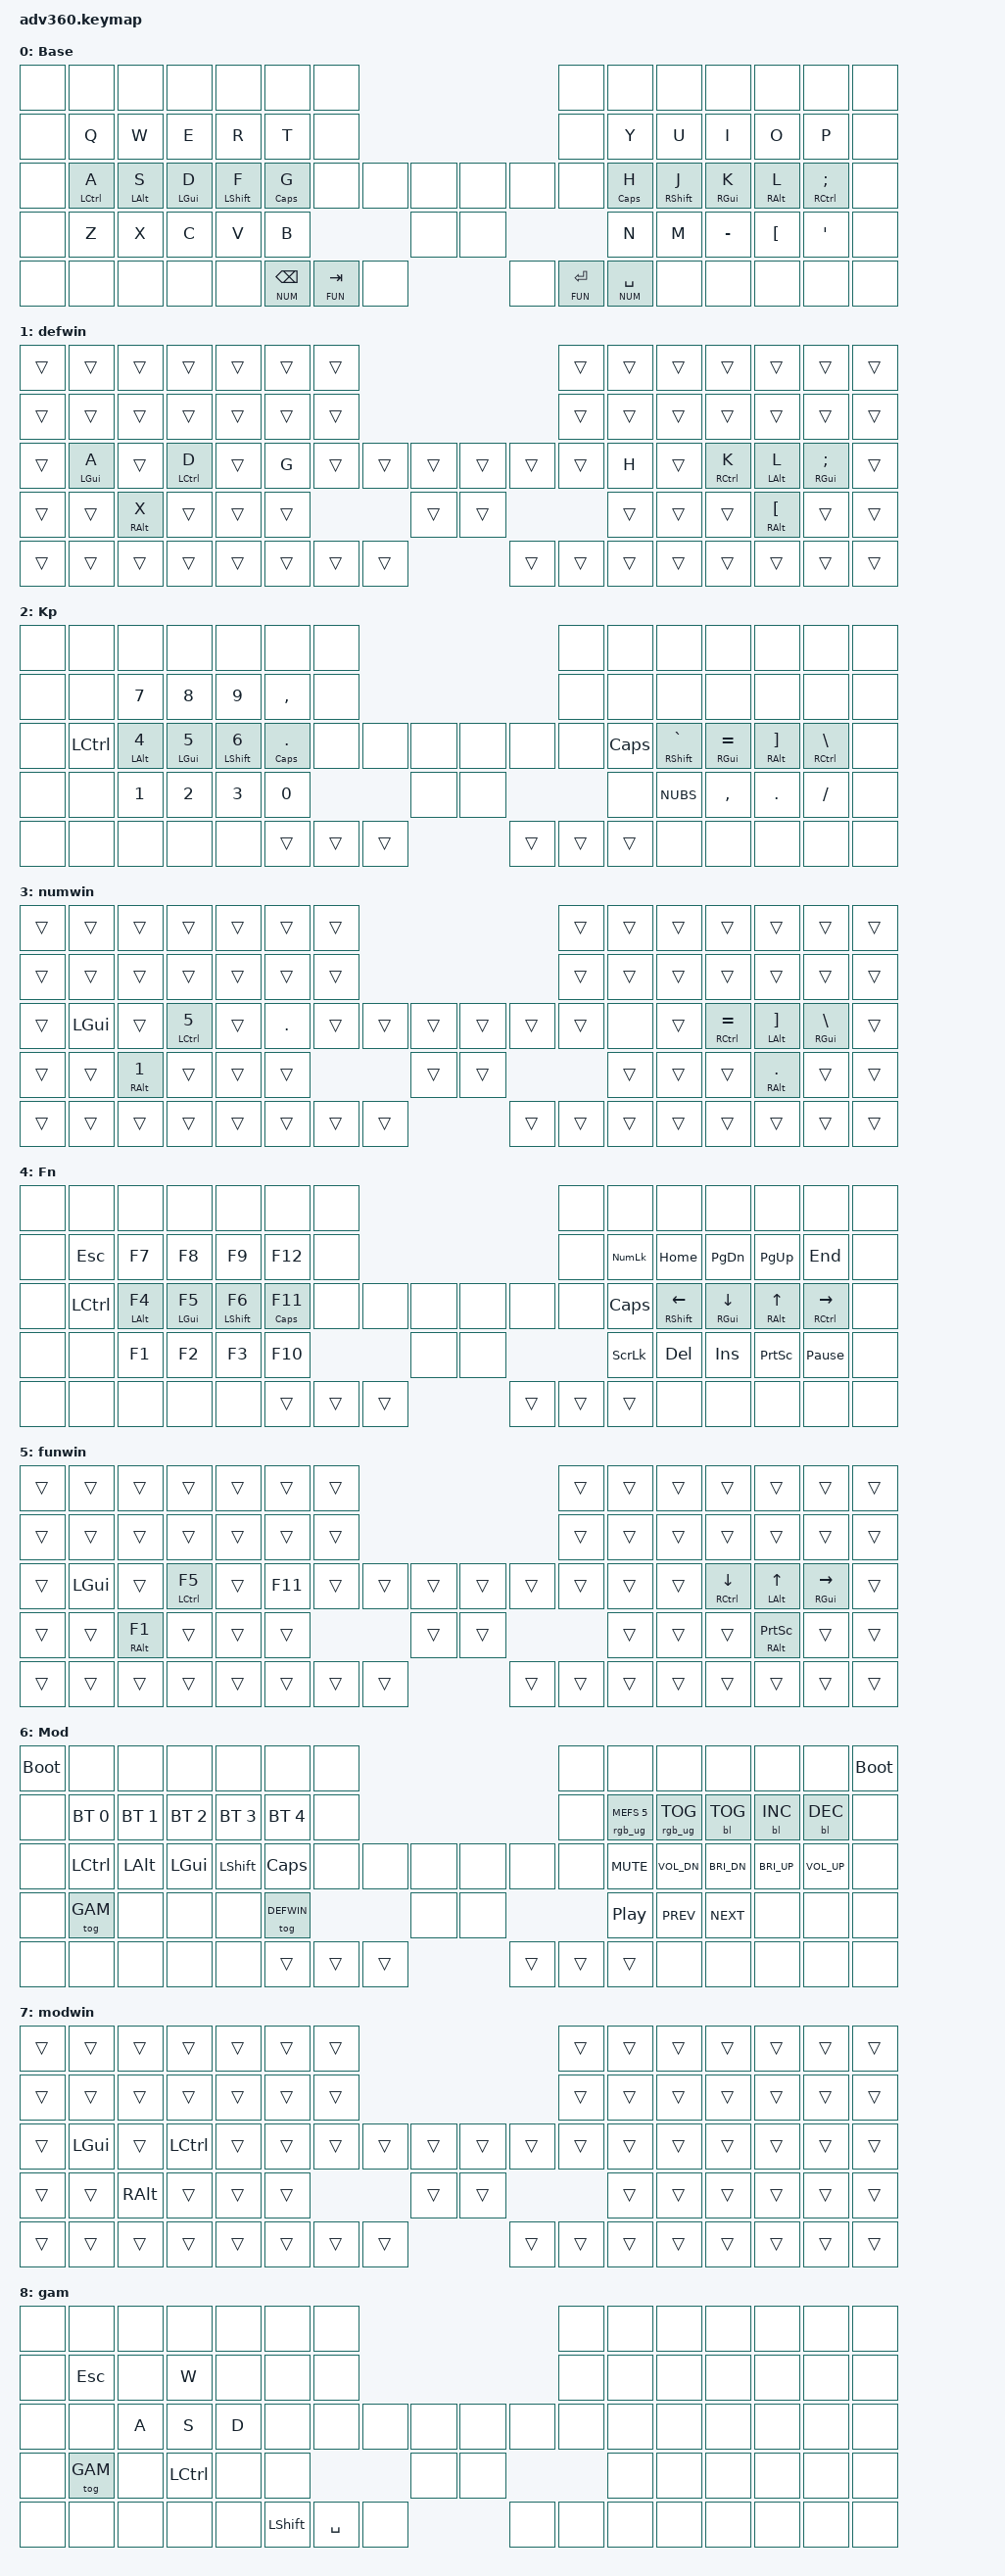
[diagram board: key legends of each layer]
#include <behaviors.dtsi>
#include <dt-bindings/zmk/keys.h>
#include <dt-bindings/zmk/bt.h>
#include <dt-bindings/zmk/rgb.h>
#include <dt-bindings/zmk/stp.h>
#include <dt-bindings/zmk/backlight.h>
#include <dt-bindings/zmk/pointing.h>

#define DEF 0
#define DEFWIN 1
#define NUM 2
#define NUMWIN 3
#define FUN 4
#define FUNWIN 5
#define MOD 6
#define MODWIN 7
#define GAM 8

&lt {
    compatible = "zmk,behavior-hold-tap";
    flavor = "balanced";
    tapping-term-ms = <250>;
    quick-tap-ms = <200>;
    require-prior-idle-ms = <150>;
    hold-trigger-on-release;
};

/ {
    behaviors {
      #include "macros.dtsi"
      #include "version.dtsi"

      hm: homerow_mods {
          compatible = "zmk,behavior-hold-tap";
          label = "HOMEROW_MODS";
          #binding-cells = <2>;
          tapping-term-ms = <200>;
          quick_tap_ms = <175>;
          flavor = "tap-preferred";
          bindings = <&kp>, <&kp>;
      };

      l_p: left_positional_hold_tap {
          compatible = "zmk,behavior-hold-tap";
          #binding-cells = <2>;
          flavor = "balanced";
          tapping-term-ms = <250>;                        // <---[[produces tap if held longer than tapping-term-ms]]
          quick-tap-ms = <200>;
          require-prior-idle-ms = <150>;
          bindings = <&kp>, <&kp>;
          hold-trigger-key-positions = <7 8 9 10 11 12 13 21 22 23 24 25 26 27 37 38 39 40 41 42 43 44 45 53 54 55 56 57 58 59 68 69 70 71 72 73 74 75>;    // <---[[right-hand keys]]
          hold-trigger-on-release;
        };

      r_p: right_positional_hold_tap {
          compatible = "zmk,behavior-hold-tap";
          #binding-cells = <2>;
          flavor = "balanced";
          tapping-term-ms = <250>;                        // <---[[produces tap if held longer than tapping-term-ms]]
          quick-tap-ms = <200>;
          require-prior-idle-ms = <150>;
          bindings = <&kp>, <&kp>;
          hold-trigger-key-positions = <0 1 2 3 4 5 6 14 15 16 17 18 19 20 28 29 30 31 32 33 34 35 36 46 47 48 49 50 51 52 60 61 62 63 64 65 66 67>;    // <---[[left-hand keys]]
          hold-trigger-on-release;
        };
};

  conditional_layers {
        compatible = "zmk,conditional-layers";
        mod_layer {
            if-layers = <NUM FUN>;
            then-layer = <MOD>;
        };
        numwin_layer {
            if-layers = <NUM DEFWIN>;
            then-layer = <NUMWIN>;
        };
        funwin_layer {
            if-layers = <FUN DEFWIN>;
            then-layer = <FUNWIN>;
        };
        modwin_layer {
            if-layers = <MOD DEFWIN>;
            then-layer = <MODWIN>;
        };
    };

  combos {
        compatible = "zmk,combos";
        combo_bt_clr {
            timeout-ms = <50>;
            key-positions = <15 16>;
            layers = <MOD MODWIN>;
            bindings = <&bt BT_CLR>;
        };
    };

  keymap {
    compatible = "zmk,keymap";

    default_layer {
      display-name = "Base";
      bindings = <
        &none      &none        &none       &none       &none        &none       &none                                                                 &none    &none       &none        &none       &none       &none           &none
        &none      &kp Q        &kp W       &kp E       &kp R        &kp T       &none                                                                 &none    &kp Y       &kp U        &kp I       &kp O       &kp P           &none
        &none      &l_p LCTRL A &l_p LALT S &l_p LGUI D &l_p LSHFT F &l_p CAPS G &none               &none        &none    &none  &none                &none    &r_p CAPS H &r_p RSHFT J &r_p RGUI K &r_p RALT L &r_p RCTRL SEMI &none
        &none      &kp Z        &kp X       &kp C       &kp V        &kp B                                        &none    &none                                &kp N       &kp M        &kp MINUS   &kp LBKT    &kp SQT         &none
        &none      &none        &none       &none       &none                          &lt NUM BSPC  &lt FUN TAB  &none    &none  &lt FUN ENTER  &lt NUM SPACE              &none        &none       &none       &none           &none
      >;
    };
    defwin {
      bindings = <
        &trans    &trans      &trans      &trans       &trans    &trans    &trans                                              &trans    &trans    &trans    &trans       &trans         &trans         &trans
        &trans    &trans      &trans      &trans       &trans    &trans    &trans                                              &trans    &trans    &trans    &trans       &trans         &trans         &trans
        &trans    &l_p LGUI A &trans      &l_p LCTRL D &trans    &kp G     &trans        &trans &trans    &trans &trans        &trans    &kp H     &trans    &r_p RCTRL K &r_p LALT L    &r_p RGUI SEMI &trans
        &trans    &trans      &l_p RALT X &trans       &trans    &trans                         &trans    &trans                         &trans    &trans    &trans       &r_p RALT LBKT &trans         &trans
        &trans    &trans      &trans      &trans       &trans                     &trans &trans &trans    &trans &trans &trans                     &trans    &trans       &trans         &trans         &trans
      >;
    };
    num {
      display-name = "Kp";
      bindings = <
        &none     &none         &none        &none        &none         &none         &none                                               &none     &none      &none            &none           &none           &none               &none
        &none     &none         &kp N7       &kp N8       &kp N9        &kp COMMA     &none                                               &none     &none      &none            &none           &none           &none               &none
        &none     &kp LCTRL     &l_p LALT N4 &l_p LGUI N5 &l_p LSHFT N6 &l_p CAPS DOT &none         &none  &none     &none  &none         &none     &kp CAPS   &r_p RSHFT GRAVE &r_p RGUI EQUAL &r_p RALT RBKT  &r_p RCTRL BSLH     &none
        &none     &none         &kp N1       &kp N2       &kp N3        &kp N0                             &none     &none                          &none      &kp NUBS         &kp COMMA       &kp DOT         &kp FSLH            &none
        &none     &none         &none        &none        &none                              &trans &trans &trans    &trans &trans &trans                      &none            &none           &none           &none               &none
      >;
    };
    numwin {
      bindings = <
        &trans    &trans       &trans       &trans        &trans    &trans    &trans                                              &trans    &trans    &trans    &trans           &trans         &trans         &trans
        &trans    &trans       &trans       &trans        &trans    &trans    &trans                                              &trans    &trans    &trans    &trans           &trans         &trans         &trans
        &trans    &kp LGUI     &trans       &l_p LCTRL N5 &trans    &kp DOT   &trans        &trans &trans    &trans &trans        &trans    &none     &trans    &r_p RCTRL EQUAL &r_p LALT RBKT &r_p RGUI BSLH &trans
        &trans    &trans       &l_p RALT N1 &trans        &trans    &trans                         &trans    &trans                         &trans    &trans    &trans           &r_p RALT DOT  &trans         &trans
        &trans    &trans       &trans       &trans        &trans                     &trans &trans &trans    &trans &trans &trans                     &trans    &trans           &trans         &trans         &trans
      >;
    };
    fun {
      display-name = "Fn";
      bindings = <
        &none     &none         &none        &none        &none         &none         &none                                               &none     &none        &none           &none          &none        &none            &none
        &none     &kp ESC       &kp F7       &kp F8       &kp F9        &kp F12       &none                                               &none     &kp KP_NLCK  &kp HOME        &kp PG_DN      &kp PG_UP    &kp END          &none
        &none     &kp LCTRL     &l_p LALT F4 &l_p LGUI F5 &l_p LSHFT F6 &l_p CAPS F11 &none         &none  &none     &none  &none         &none     &kp CAPS     &r_p RSHFT LEFT &r_p RGUI DOWN &r_p RALT UP &r_p RCTRL RIGHT &none
        &none     &none         &kp F1       &kp F2       &kp F3        &kp F10                            &none     &none                          &kp SLCK     &kp DEL         &kp INS        &kp PSCRN    &kp PAUSE_BREAK  &none
        &none     &none         &none        &none        &none                              &trans &trans &trans    &trans &trans &trans                        &none           &none          &none        &none            &none
      >;
    };
    funwin {
      bindings = <
        &trans    &trans       &trans        &trans        &trans    &trans    &trans                                              &trans    &trans    &trans    &trans          &trans          &trans          &trans
        &trans    &trans       &trans        &trans        &trans    &trans    &trans                                              &trans    &trans    &trans    &trans          &trans          &trans          &trans
        &trans    &kp LGUI     &trans        &l_p LCTRL F5 &trans    &kp F11   &trans        &trans &trans    &trans &trans        &trans    &trans    &trans    &r_p RCTRL DOWN &r_p LALT UP    &r_p RGUI RIGHT &trans
        &trans    &trans       &l_p RALT F1  &trans        &trans    &trans                         &trans    &trans                         &trans    &trans    &trans          &r_p RALT PSCRN &trans          &trans
        &trans    &trans       &trans        &trans        &trans                     &trans &trans &trans    &trans &trans &trans                     &trans    &trans          &trans          &trans          &trans
      >;
    };
    mod {
      display-name = "Mod";
      bindings = <
        &bootloader &none           &none        &none        &none           &none        &none                                               &none       &none                  &none           &none        &none        &none        &bootloader
        &none       &bt BT_SEL 0    &bt BT_SEL 1 &bt BT_SEL 2 &bt BT_SEL 3    &bt BT_SEL 4 &none                                               &none       &rgb_ug RGB_MEFS_CMD 5 &rgb_ug RGB_TOG &bl BL_TOG   &bl BL_INC   &bl BL_DEC   &none
        &none       &kp LCTRL       &kp LALT     &kp LGUI     &kp LSHFT       &kp CAPS     &none         &none  &none     &none  &none         &none       &kp C_MUTE             &kp C_VOL_DN    &kp C_BRI_DN &kp C_BRI_UP &kp C_VOL_UP &none
        &none       &tog GAM        &none        &none        &none           &tog DEFWIN                       &none     &none                            &kp C_PP               &kp C_PREV      &kp C_NEXT   &none        &none        &none
        &none       &none           &none        &none        &none                               &trans &trans &trans    &trans &trans &trans                                    &none           &none        &none        &none        &none
      >;
    };
    modwin {
      bindings = <
        &trans    &trans      &trans      &trans       &trans    &trans    &trans                                              &trans    &trans    &trans    &trans       &trans         &trans         &trans
        &trans    &trans      &trans      &trans       &trans    &trans    &trans                                              &trans    &trans    &trans    &trans       &trans         &trans         &trans
        &trans    &kp LGUI    &trans      &kp LCTRL    &trans    &trans    &trans        &trans &trans    &trans &trans        &trans    &trans    &trans    &trans       &trans         &trans         &trans
        &trans    &trans      &kp RALT    &trans       &trans    &trans                         &trans    &trans                         &trans    &trans    &trans       &trans         &trans         &trans
        &trans    &trans      &trans      &trans       &trans                     &trans &trans &trans    &trans &trans &trans                     &trans    &trans       &trans         &trans         &trans
      >;
    };
    gam {
      bindings = <
        &none    &none      &none      &none       &none    &none    &none                                                   &none    &none    &none    &none       &none         &none         &none
        &none    &kp ESC    &none      &kp W       &none    &none    &none                                                   &none    &none    &none    &none       &none         &none         &none
        &none    &none      &kp A      &kp S       &kp D    &none    &none                 &none &none    &none &none        &none    &none    &none    &none       &none         &none         &none
        &none    &tog GAM   &none      &kp LCTRL   &none    &none                                &none    &none                       &none    &none    &none       &none         &none         &none
        &none    &none      &none      &none       &none                     &kp LSHFT &kp SPACE &none    &none &none &none                    &none    &none       &none         &none         &none
      >;
    };
    extra1 {
      display-name = "Red";
      status = "reserved";
    };

    extra2 {
      display-name = "Purple";
      status = "reserved";
    };

    extra3 {
      display-name = "Cyan";
      status = "reserved";
    };

    extra4 {
      display-name = "Yellow";
      status = "reserved";
    };
  };
};
